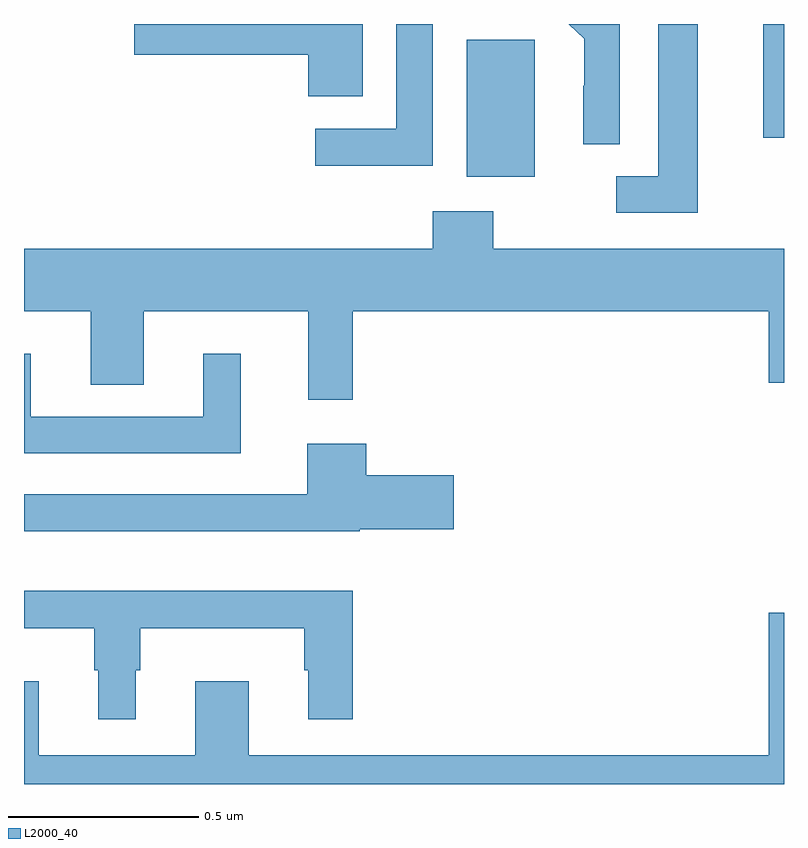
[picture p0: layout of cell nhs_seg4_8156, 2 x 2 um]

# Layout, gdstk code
import gdstk
lib = gdstk.Library(unit=1e-6, precision=1e-09)
def R(c, l, rs):  # rectangles x0, y0, x1, y1
    for r in rs: c.add(gdstk.rectangle(r[:2], r[2:], *l))
def P(c, l, *ps):  # polygons
    for p in ps: c.add(gdstk.Polygon(p, *l))
L2000_40 = (2000, 40)

nhs_seg4_8156 = lib.new_cell('nhs_seg4_8156')
R(nhs_seg4_8156, L2000_40, [(212.165,806.498,212.344,806.859), (212.945,806.601,213,806.9)])
P(nhs_seg4_8156, L2000_40, [(212.076,806.9),(211.98,806.9),(211.98,806.625),(211.767,806.625),(211.767,806.527),(212.076,806.527)],
  [(212.568,806.9),(212.434,806.9),(212.474,806.861),(212.474,806.738),(212.472,806.738),(212.472,806.584),(212.568,806.584)],
  [(212.773,806.9),(212.669,806.9),(212.669,806.499),(212.559,806.499),(212.559,806.403),(212.773,806.403)],
  [(211.891,806.9),(211.29,806.9),(211.29,806.819),(211.748,806.819),(211.748,806.71),(211.891,806.71)],
  [(211.865,806.144),(212.96,806.144),(212.96,805.956),(213,805.956),(213,806.308),(212.235,806.308),(212.235,806.407),(212.075,806.407),(212.075,806.308),(211,806.308),(211,806.144),(211.175,806.144),(211.175,805.951),(211.315,805.951),(211.315,806.144),(211.748,806.144),(211.748,805.911),(211.865,805.911)],
  [(211.571,806.032),(211.472,806.032),(211.472,805.866),(211.018,805.866),(211.018,806.032),(211,806.032),(211,805.77),(211.571,805.77)],
  [(211.884,805.571),(212.131,805.571),(212.131,805.713),(211.901,805.713),(211.901,805.795),(211.745,805.795),(211.745,805.662),(211,805.662),(211,805.565),(211.884,805.565)],
  [(211.294,805.199),(211.306,805.199),(211.306,805.31),(211.737,805.31),(211.737,805.199),(211.748,805.199),(211.748,805.071),(211.865,805.071),(211.865,805.408),(211,805.408),(211,805.31),(211.185,805.31),(211.185,805.199),(211.196,805.199),(211.196,805.071),(211.294,805.071)],
  [(213,805.351),(212.96,805.351),(212.96,804.976),(211.591,804.976),(211.591,805.171),(211.451,805.171),(211.451,804.976),(211.039,804.976),(211.039,805.171),(211,805.171),(211,804.9),(213,804.9)])

lib.write_gds('nhs_seg4_8156.gds')
